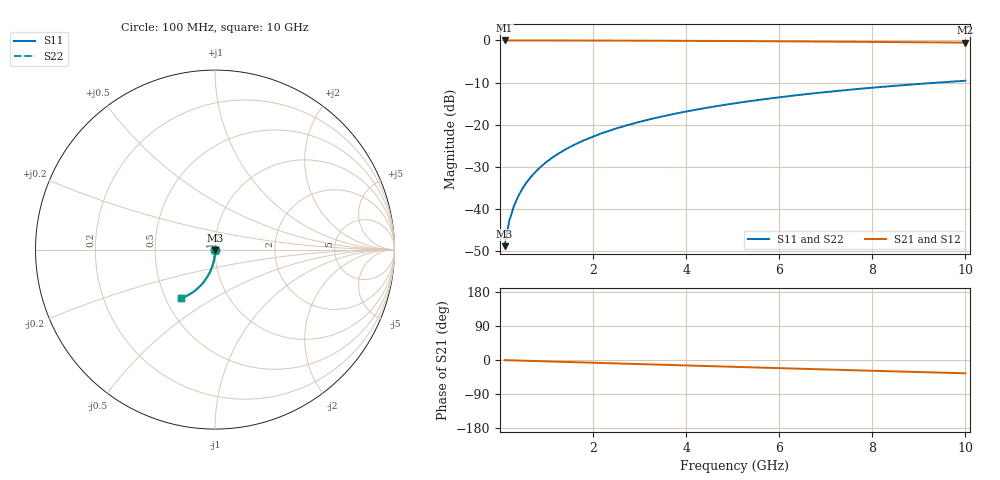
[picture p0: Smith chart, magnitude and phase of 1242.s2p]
# Hz S RI R 50.00
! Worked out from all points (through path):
!   100 points, 100 MHz to 10 GHz, reference 50 ohm
!   highest |S21| = 0.00 dB at 100 MHz (marker M1); lowest = -0.5 dB at 10 GHz (marker M2)
!   group delay of S21, straight-line fit = 9.78 ps
!   lowest |S11| = -48.7 dB at 100 MHz (marker M3), VSWR 1.01, Z = 50 - j0.364 ohm
!   |S11| at or under -10 dB: start of sweep to 9.394 GHz
!   |S22| runs from -48.7 to -9.6 dB; largest |S21 - S12| = 0
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1e8  0.000347 -0.00364  0.9996 -0.00627  0.9996 -0.00627  0.000347 -0.00364
2e8  0.000277 -0.00727  0.9995 -0.0125  0.9995 -0.0125  0.000277 -0.00727
3e8  0.000159 -0.0109  0.9994 -0.0188  0.9994 -0.0188  0.000159 -0.0109
4e8  -3.53e-06 -0.0145  0.9992 -0.0251  0.9992 -0.0251  -3.53e-06 -0.0145
5e8  -0.000212 -0.0182  0.9989 -0.0314  0.9989 -0.0314  -0.000212 -0.0182
6e8  -0.000467 -0.0218  0.9986 -0.0376  0.9986 -0.0376  -0.000467 -0.0218
7e8  -0.000767 -0.0254  0.9983 -0.0439  0.9983 -0.0439  -0.000767 -0.0254
8e8  -0.00111 -0.0291  0.9979 -0.0502  0.9979 -0.0502  -0.00111 -0.0291
9e8  -0.0015 -0.0327  0.9974 -0.0564  0.9974 -0.0564  -0.0015 -0.0327
1.1e9  -0.00242 -0.0399  0.9964 -0.0689  0.9964 -0.0689  -0.00242 -0.0399
1.4e9  -0.00414 -0.0507  0.9944 -0.0876  0.9944 -0.0876  -0.00414 -0.0507
1.8e9  -0.00706 -0.065  0.991 -0.1125  0.991 -0.1125  -0.00706 -0.065
2.1e9  -0.00972 -0.0756  0.9879 -0.131  0.9879 -0.131  -0.00972 -0.0756
2.5e9  -0.0139 -0.0895  0.9831 -0.1556  0.9831 -0.1556  -0.0139 -0.0895
2.9e9  -0.0187 -0.1032  0.9775 -0.1799  0.9775 -0.1799  -0.0187 -0.1032
3.4e9  -0.0257 -0.12  0.9694 -0.21  0.9694 -0.21  -0.0257 -0.12
4.2e9  -0.039 -0.1457  0.9539 -0.257  0.9539 -0.257  -0.039 -0.1457
5.1e9  -0.0568 -0.1727  0.9331 -0.3082  0.9331 -0.3082  -0.0568 -0.1727
5.9e9  -0.075 -0.1947  0.9118 -0.3518  0.9118 -0.3518  -0.075 -0.1947
6.7e9  -0.095 -0.2147  0.888 -0.3934  0.888 -0.3934  -0.095 -0.2147
8.4e9  -0.1426 -0.2496  0.8308 -0.4748  0.8308 -0.4748  -0.1426 -0.2496
1e10  -0.1915 -0.2724  0.7705 -0.5419  0.7705 -0.5419  -0.1915 -0.2724
